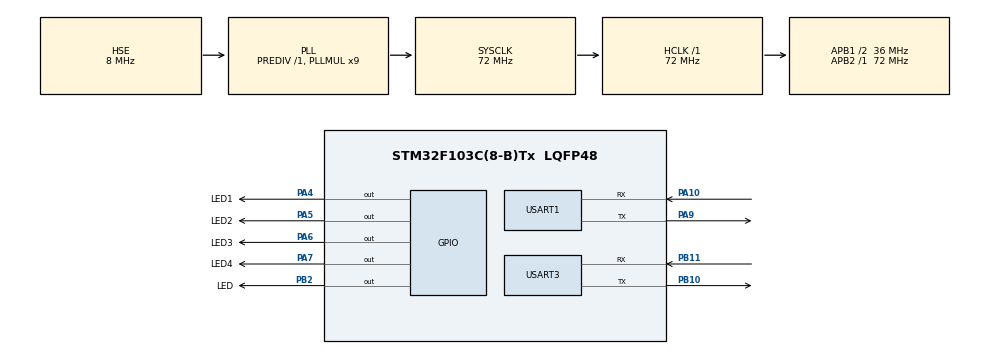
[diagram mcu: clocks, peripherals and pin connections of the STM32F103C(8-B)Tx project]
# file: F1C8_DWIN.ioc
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Dma.Request0=USART1_TX
Dma.Request1=USART1_RX
Dma.USART1_RX.1.Direction=DMA_PERIPH_TO_MEMORY
Dma.USART1_RX.1.Instance=DMA1_Channel5
Dma.USART1_RX.1.MemDataAlignment=DMA_MDATAALIGN_BYTE
Dma.USART1_RX.1.MemInc=DMA_MINC_ENABLE
Dma.USART1_RX.1.Mode=DMA_NORMAL
Dma.USART1_RX.1.PeriphDataAlignment=DMA_PDATAALIGN_BYTE
Dma.USART1_RX.1.PeriphInc=DMA_PINC_DISABLE
Dma.USART1_RX.1.Priority=DMA_PRIORITY_LOW
Dma.USART1_TX.0.Direction=DMA_MEMORY_TO_PERIPH
Dma.USART1_TX.0.Instance=DMA1_Channel4
Dma.USART1_TX.0.MemDataAlignment=DMA_MDATAALIGN_BYTE
Dma.USART1_TX.0.MemInc=DMA_MINC_ENABLE
Dma.USART1_TX.0.Mode=DMA_NORMAL
Dma.USART1_TX.0.PeriphDataAlignment=DMA_PDATAALIGN_BYTE
Dma.USART1_TX.0.PeriphInc=DMA_PINC_DISABLE
Dma.USART1_TX.0.Priority=DMA_PRIORITY_LOW
FREERTOS.Tasks01=blynkLed,-2,128,TaskBlynk,Default,NULL,Dynamic,NULL,NULL;myTaskSim,0,128,TaskSim,Default,NULL,Dynamic,NULL,NULL;myTaskPingMqtt,-3,128,pingMqttTask,Default,NULL,Dynamic,NULL,NULL
Mcu.Family=STM32F1
Mcu.Name=STM32F103C(8-B)Tx
Mcu.Package=LQFP48
NVIC.DMA1_Channel4_IRQn=true\:5\:0\:false\:false\:true\:true\:false\:true\:true
NVIC.DMA1_Channel5_IRQn=true\:5\:0\:false\:false\:true\:true\:false\:true\:true
NVIC.PriorityGroup=NVIC_PRIORITYGROUP_4
NVIC.TIM4_IRQn=true\:15\:0\:false\:false\:true\:false\:false\:true\:true
NVIC.TimeBase=TIM4_IRQn
NVIC.TimeBaseIP=TIM4
NVIC.USART1_IRQn=true\:5\:0\:false\:false\:true\:true\:true\:true\:true
NVIC.USART3_IRQn=true\:5\:0\:false\:false\:true\:true\:true\:true\:true
PA10.Mode=Asynchronous
PA10.Signal=USART1_RX
PA13.Mode=Serial_Wire
PA13.Signal=SYS_JTMS-SWDIO
PA14.Mode=Serial_Wire
PA14.Signal=SYS_JTCK-SWCLK
PA4.GPIO_Label=LED1
PA4.Signal=GPIO_Output
PA5.GPIO_Label=LED2
PA5.Signal=GPIO_Output
PA6.GPIO_Label=LED3
PA6.Signal=GPIO_Output
PA7.GPIO_Label=LED4
PA7.Signal=GPIO_Output
PA9.Mode=Asynchronous
PA9.Signal=USART1_TX
PB10.Mode=Asynchronous
PB10.Signal=USART3_TX
PB11.Mode=Asynchronous
PB11.Signal=USART3_RX
PB2.GPIO_Label=LED
PB2.Signal=GPIO_Output
PD0-OSC_IN.Mode=HSE-External-Oscillator
PD0-OSC_IN.Signal=RCC_OSC_IN
PD1-OSC_OUT.Mode=HSE-External-Oscillator
PD1-OSC_OUT.Signal=RCC_OSC_OUT
ProjectManager.HeapSize=0x200
ProjectManager.StackSize=0x400
ProjectManager.TargetToolchain=MDK-ARM V5.32
RCC.AHBFreq_Value=72000000
RCC.APB1CLKDivider=RCC_HCLK_DIV2
RCC.APB1Freq_Value=36000000
RCC.APB1TimFreq_Value=72000000
RCC.APB2Freq_Value=72000000
RCC.APB2TimFreq_Value=72000000
RCC.HCLKFreq_Value=72000000
RCC.PLLMUL=RCC_PLL_MUL9
RCC.PLLSourceVirtual=RCC_PLLSOURCE_HSE
RCC.SYSCLKFreq_VALUE=72000000
RCC.SYSCLKSource=RCC_SYSCLKSOURCE_PLLCLK
RCC.USBFreq_Value=72000000
USART1.VirtualMode=VM_ASYNC
USART3.VirtualMode=VM_ASYNC
VP_FREERTOS_VS_CMSIS_V1.Mode=CMSIS_V1
VP_SYS_VS_tim4.Mode=TIM4
board=custom

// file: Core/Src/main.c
/* USER CODE BEGIN Header */
/**
  ******************************************************************************
  * @file           : main.c
  * @brief          : Main program body
  ******************************************************************************
  * @attention
  *
  * Copyright (c) 2023 STMicroelectronics.
  * All rights reserved.
  *
  * This software is licensed under terms that can be found in the LICENSE file
  * in the root directory of this software component.
  * If no LICENSE file comes with this software, it is provided AS-IS.
  *
  ******************************************************************************
  */
/* USER CODE END Header */
#include "main.h"
#include "cmsis_os.h"
#include "dma.h"
#include "usart.h"
#include "gpio.h"

void SystemClock_Config(void);
void MX_FREERTOS_Init(void);

int main(void)
{

  /* MCU Configuration--------------------------------------------------------*/

  /* Reset of all peripherals, Initializes the Flash interface and the Systick. */
  HAL_Init();

  /* Configure the system clock */
  SystemClock_Config();

  /* Initialize all configured peripherals */
  MX_GPIO_Init();
  MX_DMA_Init();
  MX_USART3_UART_Init();
  MX_USART1_UART_Init();

  /* Call init function for freertos objects (in freertos.c) */
  MX_FREERTOS_Init();

  /* Start scheduler */
  osKernelStart();

  /* We should never get here as control is now taken by the scheduler */
  /* Infinite loop */
  /* USER CODE BEGIN WHILE */
  while (1)
  {
//		if( HAL_GetTick() - timeLed > 2000)
//		{
//			if(checkCommand == 0)
//			{
//				HAL_GPIO_TogglePin(LED2_GPIO_Port, LED2_Pin);
//			}
//			HAL_GPIO_TogglePin(LED_GPIO_Port, LED_Pin);
//			//sprintf(dataTx, "AT\r\n");
//			//HAL_UART_Transmit_DMA(&huart1,(uint8_t*)dataTx, sizeof(dataTx));
//			timeLed =  HAL_GetTick();
//		}
    /* USER CODE END WHILE */

  }
}

void SystemClock_Config(void)
{
  RCC_OscInitTypeDef RCC_OscInitStruct = {0};
  RCC_ClkInitTypeDef RCC_ClkInitStruct = {0};

  /** Initializes the RCC Oscillators according to the specified parameters
  * in the RCC_OscInitTypeDef structure.
  */
  RCC_OscInitStruct.OscillatorType = RCC_OSCILLATORTYPE_HSE;
  RCC_OscInitStruct.HSEState = RCC_HSE_ON;
  RCC_OscInitStruct.HSEPredivValue = RCC_HSE_PREDIV_DIV1;
  RCC_OscInitStruct.HSIState = RCC_HSI_ON;
  RCC_OscInitStruct.PLL.PLLState = RCC_PLL_ON;
  RCC_OscInitStruct.PLL.PLLSource = RCC_PLLSOURCE_HSE;
  RCC_OscInitStruct.PLL.PLLMUL = RCC_PLL_MUL9;
  if (HAL_RCC_OscConfig(&RCC_OscInitStruct) != HAL_OK)
  {
    Error_Handler();
  }

  /** Initializes the CPU, AHB and APB buses clocks
  */
  RCC_ClkInitStruct.ClockType = RCC_CLOCKTYPE_HCLK|RCC_CLOCKTYPE_SYSCLK
                              |RCC_CLOCKTYPE_PCLK1|RCC_CLOCKTYPE_PCLK2;
  RCC_ClkInitStruct.SYSCLKSource = RCC_SYSCLKSOURCE_PLLCLK;
  RCC_ClkInitStruct.AHBCLKDivider = RCC_SYSCLK_DIV1;
  RCC_ClkInitStruct.APB1CLKDivider = RCC_HCLK_DIV2;
  RCC_ClkInitStruct.APB2CLKDivider = RCC_HCLK_DIV1;

  if (HAL_RCC_ClockConfig(&RCC_ClkInitStruct, FLASH_LATENCY_2) != HAL_OK)
  {
    Error_Handler();
  }
}

void HAL_TIM_PeriodElapsedCallback(TIM_HandleTypeDef *htim)
{
  if (htim->Instance == TIM4) {
    HAL_IncTick();
  }
}

void Error_Handler(void)
{
  __disable_irq();
  while (1)
  {
  }
}

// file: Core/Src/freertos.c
/* USER CODE BEGIN Header */
/**
  ******************************************************************************
  * File Name          : freertos.c
  * Description        : Code for freertos applications
  ******************************************************************************
  * @attention
  *
  * Copyright (c) 2024 STMicroelectronics.
  * All rights reserved.
  *
  * This software is licensed under terms that can be found in the LICENSE file
  * in the root directory of this software component.
  * If no LICENSE file comes with this software, it is provided AS-IS.
  *
  ******************************************************************************
  */
/* USER CODE END Header */

#include "FreeRTOS.h"
#include "task.h"
#include "main.h"
#include "cmsis_os.h"

/* USER CODE BEGIN Includes */
#include "dma.h"
#include "usart.h"
#include "gpio.h"
#include "A7860C_command.h"
#include "MQTT_Sim_Config.h"
#include "stdio.h"
#include "string.h"
#include "stdbool.h"
/* USER CODE END Includes */

/* USER CODE BEGIN Variables */
static MQTT_Infor_t mqttInfor;
static MQTT_Sub_t mqttSub;
extern uint8_t dataRx;
extern char bufferRx[128];
uint8_t checkCommand;

/* USER CODE END Variables */
osThreadId blynkLedHandle;
osThreadId myTaskSimHandle;
osThreadId myTaskPingMqttHandle;

void TaskBlynk(void const * argument);
void TaskSim(void const * argument);
void pingMqttTask(void const * argument);

void MX_FREERTOS_Init(void); /* (MISRA C 2004 rule 8.1) */

/* GetIdleTaskMemory prototype (linked to static allocation support) */
void vApplicationGetIdleTaskMemory( StaticTask_t **ppxIdleTaskTCBBuffer, StackType_t **ppxIdleTaskStackBuffer, uint32_t *pulIdleTaskStackSize );

/* USER CODE BEGIN GET_IDLE_TASK_MEMORY */
static StaticTask_t xIdleTaskTCBBuffer;
static StackType_t xIdleStack[configMINIMAL_STACK_SIZE];

void vApplicationGetIdleTaskMemory( StaticTask_t **ppxIdleTaskTCBBuffer, StackType_t **ppxIdleTaskStackBuffer, uint32_t *pulIdleTaskStackSize )
{
  *ppxIdleTaskTCBBuffer = &xIdleTaskTCBBuffer;
  *ppxIdleTaskStackBuffer = &xIdleStack[0];
  *pulIdleTaskStackSize = configMINIMAL_STACK_SIZE;
  /* place for user code */
}
/* USER CODE END GET_IDLE_TASK_MEMORY */

void MX_FREERTOS_Init(void) {

  /* Create the thread(s) */
  /* definition and creation of blynkLed */
  osThreadDef(blynkLed, TaskBlynk, osPriorityLow, 0, 128);
  blynkLedHandle = osThreadCreate(osThread(blynkLed), NULL);

  /* definition and creation of myTaskSim */
  osThreadDef(myTaskSim, TaskSim, osPriorityNormal, 0, 128);
  myTaskSimHandle = osThreadCreate(osThread(myTaskSim), NULL);

  /* definition and creation of myTaskPingMqtt */
  osThreadDef(myTaskPingMqtt, pingMqttTask, osPriorityIdle, 0, 128);
  myTaskPingMqttHandle = osThreadCreate(osThread(myTaskPingMqtt), NULL);

}

void TaskBlynk(void const * argument)
{
  /* USER CODE BEGIN TaskBlynk */
	HAL_GPIO_WritePin(LED2_GPIO_Port, LED2_Pin, 1);
  /* Infinite loop */
  for(;;)
  {
		HAL_GPIO_TogglePin(LED_GPIO_Port, LED_Pin);
    osDelay(100);
  }
  /* USER CODE END TaskBlynk */
}

void TaskSim(void const * argument)
{
  /* USER CODE BEGIN TaskSim */
	uint16_t timePingMqtt;

	mqttInfor.clientID = "e2943989528d43d1";
	mqttInfor.clientIndex = 0;
	mqttInfor.sever = "test.mosquitto.org";
	mqttInfor.port = 1883;
	mqttInfor.keepAlive = 60;
	mqttInfor.cleanSession = 1;

	mqttSub.clientIndex = 0;
	mqttSub.Qos = 1;
	mqttSub.topic = "hello";
	HAL_UART_Receive_DMA(&huart1, &dataRx, 1);
	if(mountMQTT(mqttInfor) == 0)
	{
		osDelay(1000);
		subcribeTopic(mqttSub);
	}
	osDelay(100);
	vTaskResume(myTaskPingMqttHandle);

  /* Infinite loop */
  for(;;)
  {
    osDelay(100);
		timePingMqtt++;
		handleDataSub();
		if(timePingMqtt > 150)
		{
				timePingMqtt = 0;
				vTaskResume(myTaskPingMqttHandle);
				vTaskSuspend(NULL);
		}

  }
  /* USER CODE END TaskSim */
}

uint8_t checkData;
void pingMqttTask(void const * argument)
{
  /* USER CODE BEGIN pingMqttTask */

	vTaskSuspend(NULL);
  /* Infinite loop */
  for(;;)
  {
		checkData = pingMQTT(mqttInfor);
		osDelay(100);
		vTaskResume(myTaskSimHandle);
		vTaskSuspend(NULL);
  }
  /* USER CODE END pingMqttTask */
}

/* USER CODE BEGIN Application */

void HAL_UART_RxCpltCallback(UART_HandleTypeDef *huart)
{
	if(huart->Instance == huart1.Instance)
	{
			uartReceive();
	}
}
/* USER CODE END Application */
